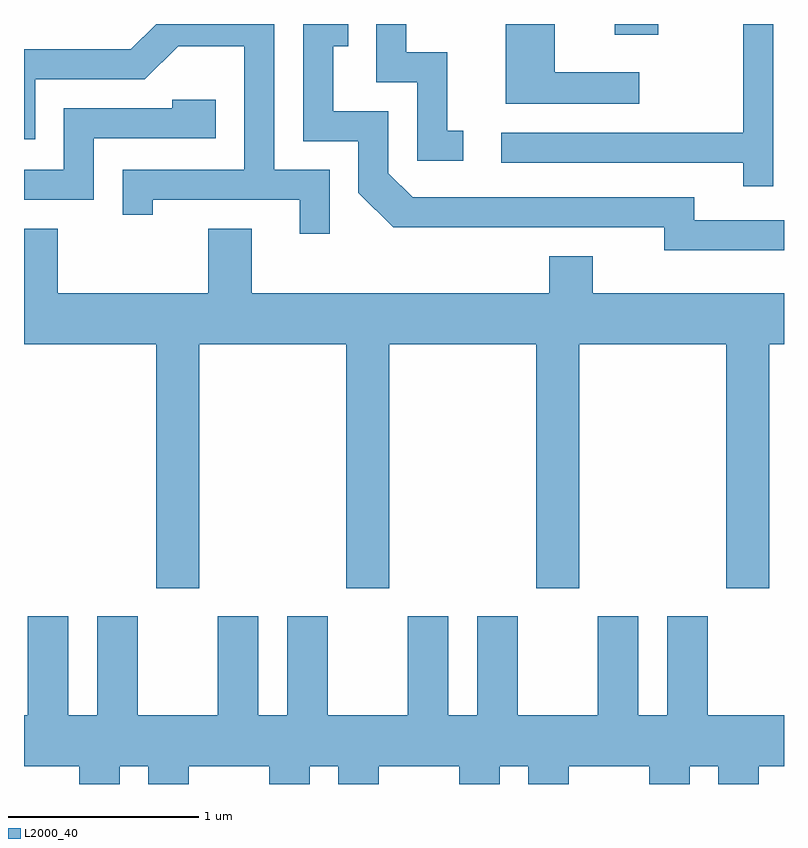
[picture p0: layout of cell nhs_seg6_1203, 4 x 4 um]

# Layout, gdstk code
import gdstk
lib = gdstk.Library(unit=1e-6, precision=1e-09)
def R(c, l, rs):  # rectangles x0, y0, x1, y1
    for r in rs: c.add(gdstk.rectangle(r[:2], r[2:], *l))
def P(c, l, *ps):  # polygons
    for p in ps: c.add(gdstk.Polygon(p, *l))
L2000_40 = (2000, 40)

nhs_seg6_1203 = lib.new_cell('nhs_seg6_1203')
R(nhs_seg6_1203, L2000_40, [(224.721,1556.106,224.949,1556.162)])
P(nhs_seg6_1203, L2000_40, [(223.923,1555.599),(223.839,1555.599),(223.839,1556.014),(223.624,1556.014),(223.624,1556.162),(223.466,1556.162),(223.466,1555.856),(223.681,1555.856),(223.681,1555.441),(223.923,1555.441)],
  [(225.611,1555.129),(225.139,1555.129),(225.139,1555.249),(223.657,1555.249),(223.529,1555.377),(223.529,1555.704),(223.239,1555.704),(223.239,1556.046),(223.318,1556.046),(223.318,1556.162),(223.081,1556.162),(223.081,1555.546),(223.371,1555.546),(223.371,1555.274),(223.554,1555.091),(224.981,1555.091),(224.981,1554.971),(225.611,1554.971)],
  [(224.848,1555.909),(224.404,1555.909),(224.404,1556.162),(224.146,1556.162),(224.146,1555.741),(224.848,1555.741)],
  [(225.554,1556.162),(225.396,1556.162),(225.396,1555.589),(224.123,1555.589),(224.123,1555.431),(225.396,1555.431),(225.396,1555.308),(225.554,1555.308)],
  [(223.219,1555.394),(222.929,1555.394),(222.929,1556.162),(222.307,1556.162),(222.174,1556.029),(221.611,1556.029),(221.611,1555.556),(221.669,1555.556),(221.669,1555.871),(222.247,1555.871),(222.422,1556.046),(222.771,1556.046),(222.771,1555.394),(222.131,1555.394),(222.131,1555.158),(222.289,1555.158),(222.289,1555.236),(223.061,1555.236),(223.061,1555.058),(223.219,1555.058)],
  [(221.979,1555.561),(222.619,1555.561),(222.619,1555.764),(222.391,1555.764),(222.391,1555.719),(221.821,1555.719),(221.821,1555.394),(221.611,1555.394),(221.611,1555.236),(221.979,1555.236)],
  [(222.534,1554.476),(223.306,1554.476),(223.306,1553.191),(223.534,1553.191),(223.534,1554.476),(224.306,1554.476),(224.306,1553.191),(224.534,1553.191),(224.534,1554.476),(225.306,1554.476),(225.306,1553.191),(225.534,1553.191),(225.534,1554.476),(225.611,1554.476),(225.611,1554.744),(224.604,1554.744),(224.604,1554.939),(224.376,1554.939),(224.376,1554.744),(222.809,1554.744),(222.809,1555.084),(222.581,1555.084),(222.581,1554.744),(221.789,1554.744),(221.789,1555.084),(221.611,1555.084),(221.611,1554.476),(222.306,1554.476),(222.306,1553.191),(222.534,1553.191)],
  [(222.114,1552.256),(222.266,1552.256),(222.266,1552.162),(222.479,1552.162),(222.479,1552.256),(222.901,1552.256),(222.901,1552.162),(223.114,1552.162),(223.114,1552.256),(223.266,1552.256),(223.266,1552.162),(223.479,1552.162),(223.479,1552.256),(223.901,1552.256),(223.901,1552.162),(224.114,1552.162),(224.114,1552.256),(224.266,1552.256),(224.266,1552.162),(224.479,1552.162),(224.479,1552.256),(224.901,1552.256),(224.901,1552.162),(225.114,1552.162),(225.114,1552.256),(225.266,1552.256),(225.266,1552.162),(225.479,1552.162),(225.479,1552.256),(225.611,1552.256),(225.611,1552.524),(225.209,1552.524),(225.209,1553.044),(224.996,1553.044),(224.996,1552.524),(224.844,1552.524),(224.844,1553.044),(224.631,1553.044),(224.631,1552.524),(224.209,1552.524),(224.209,1553.044),(223.996,1553.044),(223.996,1552.524),(223.844,1552.524),(223.844,1553.044),(223.631,1553.044),(223.631,1552.524),(223.209,1552.524),(223.209,1553.044),(222.996,1553.044),(222.996,1552.524),(222.844,1552.524),(222.844,1553.044),(222.631,1553.044),(222.631,1552.524),(222.209,1552.524),(222.209,1553.044),(221.996,1553.044),(221.996,1552.524),(221.844,1552.524),(221.844,1553.044),(221.631,1553.044),(221.631,1552.524),(221.611,1552.524),(221.611,1552.256),(221.901,1552.256),(221.901,1552.162),(222.114,1552.162)])

lib.write_gds('nhs_seg6_1203.gds')
